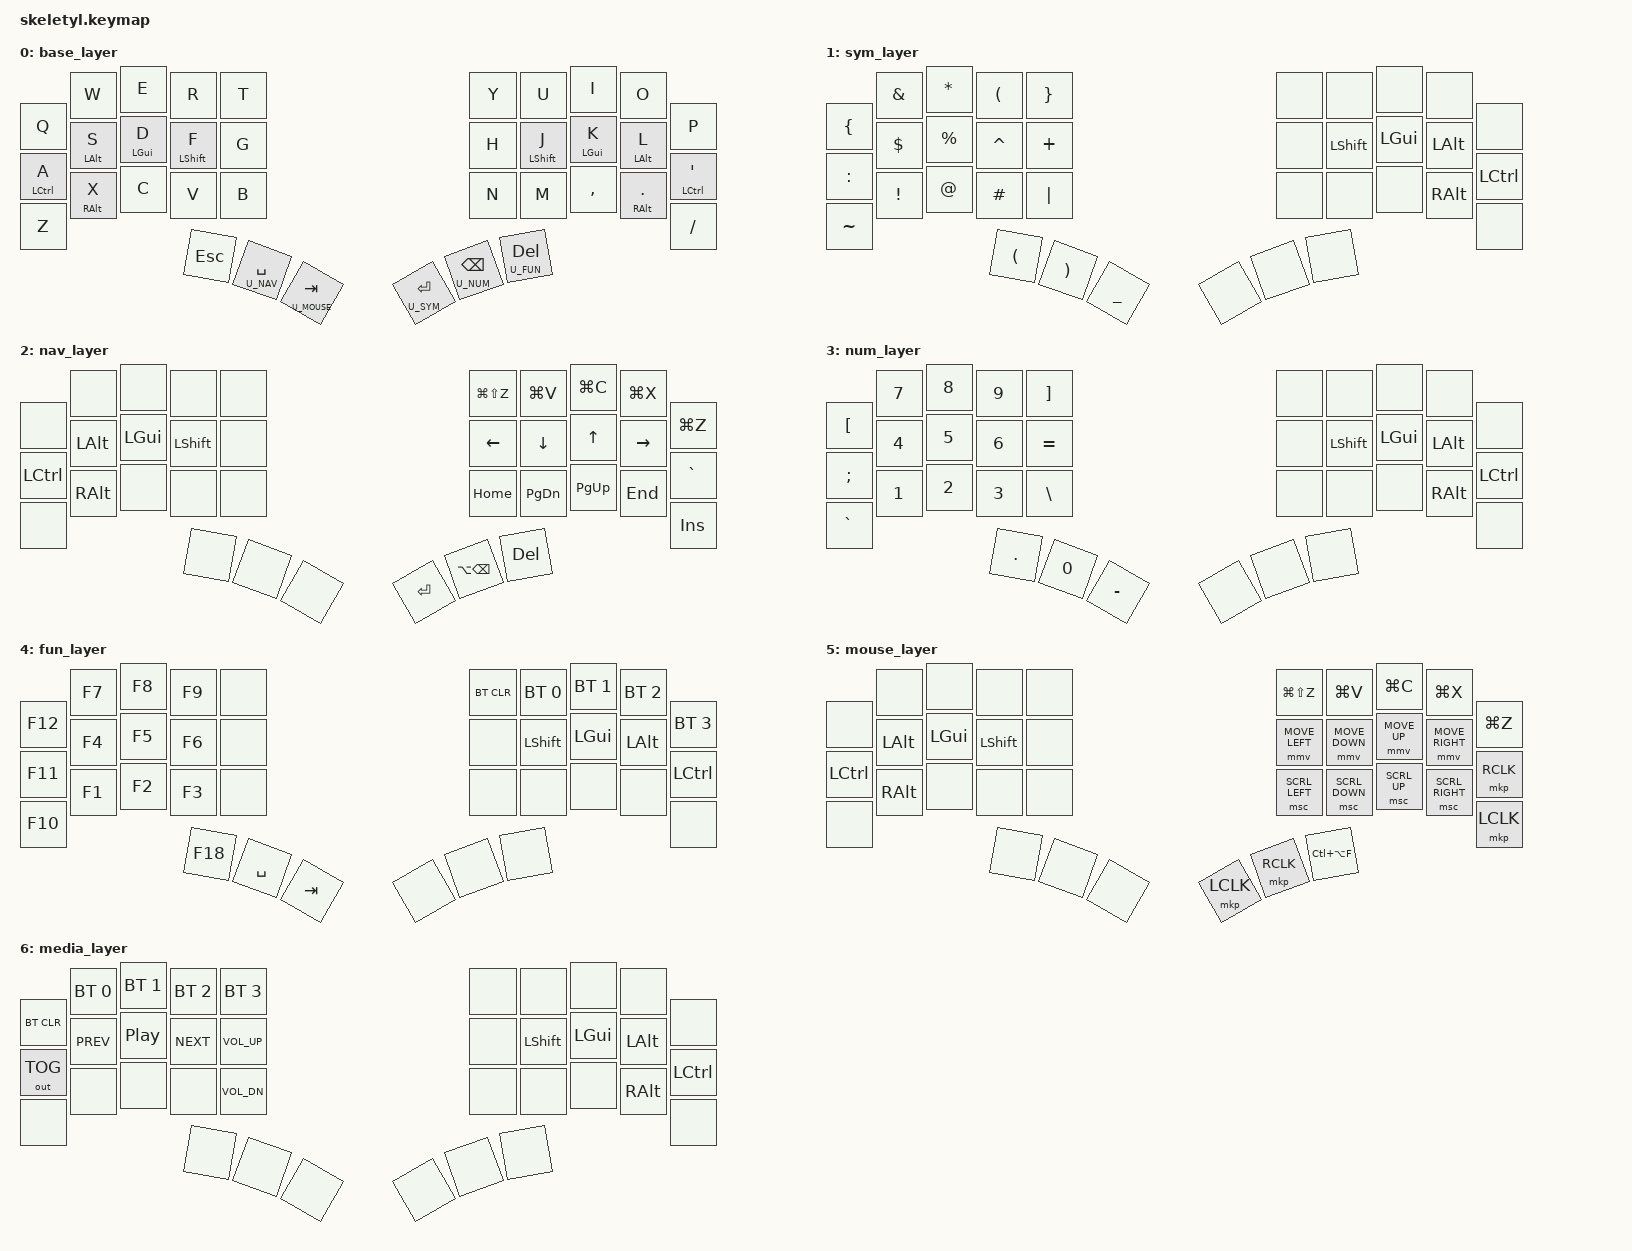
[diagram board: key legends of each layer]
/*
 * Copyright (c) 2020 The ZMK Contributors
 *
 * SPDX-License-Identifier: MIT
 */

#include <behaviors.dtsi>
#include <behaviors/num_word.dtsi>
#include <dt-bindings/zmk/keys.h>
#include <dt-bindings/zmk/bt.h>
#include <dt-bindings/zmk/outputs.h>

// Mouse speed settings (3x speed)
#define ZMK_POINTING_DEFAULT_MOVE_VAL 1800  // default: 600
#define ZMK_POINTING_DEFAULT_SCRL_VAL 30    // default: 10

#include <dt-bindings/zmk/pointing.h>

// QMK 스타일 레이어 정의
#define U_BASE 0
#define U_SYM 1
#define U_NAV 2
#define U_NUM 3
#define U_FUN 4
#define U_MOUSE 5
#define U_MEDIA 6

// 빈 키 정의
#define U_NA &none

// 36-key layout key positions (based on your matrix transform)
#define LT0  0
#define LT1  1
#define LT2  2
#define LT3  3
#define LT4  4
#define LM0  5
#define LM1  6
#define LM2  7
#define LM3  8
#define LM4  9
#define LB0 10
#define LB1 11
#define LB2 12
#define LB3 13
#define LB4 14
#define LH0 15
#define LH1 16
#define LH2 17

#define RT0 18
#define RT1 19
#define RT2 20
#define RT3 21
#define RT4 22
#define RM0 23
#define RM1 24
#define RM2 25
#define RM3 26
#define RM4 27
#define RB0 28
#define RB1 29
#define RB2 30
#define RB3 31
#define RB4 32
#define RH0 33
#define RH1 34
#define RH2 35

// Key groups for HRM
#define KEYS_L LT0 LT1 LT2 LT3 LT4 LM0 LM1 LM2 LM3 LM4 LB0 LB1 LB2 LB3 LB4
#define KEYS_R RT0 RT1 RT2 RT3 RT4 RM0 RM1 RM2 RM3 RM4 RB0 RB1 RB2 RB3 RB4
#define THUMBS LH0 LH1 LH2 RH0 RH1 RH2

/ {
    behaviors {
        /* Left-hand HRMs — urob "timeless" style
         * 타이핑 중에는 require-prior-idle(150ms)이 항상 즉시 tap으로 처리.
         * tapping-term(280ms)은 의도적 홀드 시에만 관여 → false-mod 제거. */
        hml: homerow_mods_left {
            compatible = "zmk,behavior-hold-tap";
            #binding-cells = <2>;
            flavor = "balanced";
            tapping-term-ms = <200>;
            quick-tap-ms = <175>;
            require-prior-idle-ms = <150>;
            bindings = <&kp>, <&kp>;
            hold-trigger-key-positions = <KEYS_R THUMBS>;
            hold-trigger-on-release;
        };

        /* Right-hand HRMs */
        hmr: homerow_mods_right {
            compatible = "zmk,behavior-hold-tap";
            #binding-cells = <2>;
            flavor = "balanced";
            tapping-term-ms = <200>;
            quick-tap-ms = <175>;
            require-prior-idle-ms = <150>;
            bindings = <&kp>, <&kp>;
            hold-trigger-key-positions = <KEYS_L THUMBS>;
            hold-trigger-on-release;
        };

        /* Shift 전용 HRM — require-prior-idle 없음: 롤링 즉시 Shift 발동
         * Shift 오작동은 대문자 하나로 끝나지만, Cmd/Ctrl 오작동은 위험하므로 분리. */
        hml_shift: homerow_mods_left_shift {
            compatible = "zmk,behavior-hold-tap";
            #binding-cells = <2>;
            flavor = "balanced";
            tapping-term-ms = <200>;
            quick-tap-ms = <175>;
            bindings = <&kp>, <&kp>;
            hold-trigger-key-positions = <KEYS_R THUMBS>;
            hold-trigger-on-release;
        };

        hmr_shift: homerow_mods_right_shift {
            compatible = "zmk,behavior-hold-tap";
            #binding-cells = <2>;
            flavor = "balanced";
            tapping-term-ms = <200>;
            quick-tap-ms = <175>;
            bindings = <&kp>, <&kp>;
            hold-trigger-key-positions = <KEYS_L THUMBS>;
            hold-trigger-on-release;
        };

        /* Thumb layer-tap — &lt 대체
         * 빠른 타이핑 중 엄지 레이어 키가 hold로 오인되는 문제 방지.
         * 직전 키 입력 후 150ms 이내 → 항상 즉시 tap(DEL/BSPC/RET 등)으로 처리.
         * 언어전환(FUN+LH0=F18) 등 의도적 레이어 진입은 타이핑 후 잠깐 멈췄다가 홀드. */
        tlt: thumb_layer_tap {
            compatible = "zmk,behavior-hold-tap";
            #binding-cells = <2>;
            flavor = "balanced";
            tapping-term-ms = <200>;
            quick-tap-ms = <175>;
            require-prior-idle-ms = <150>;
            bindings = <&mo>, <&kp>;
        };

        /* DEL 전용 layer-tap — require-prior-idle 없음
         * 타이핑 직후에도 홀드하면 즉시 레이어 활성화. */
        lt_del: layer_tap_del {
            compatible = "zmk,behavior-hold-tap";
            #binding-cells = <2>;
            flavor = "balanced";
            tapping-term-ms = <120>;
            quick-tap-ms = <175>;
            bindings = <&mo>, <&kp>;
        };

    };

    combos {
        compatible = "zmk,combos";

        // Caps Word: 안쪽 엄지 두 개 동시 (TAB + RET, pos 32+33)
        combo_caps {
            timeout-ms = <50>;
            key-positions = <32 33>;
            bindings = <&caps_word>;
            require-prior-idle-ms = <150>;
            layers = <0>;
        };

        // Repeat Key: 오른 엄지 중간+바깥 동시 (BSPC + DEL, pos 34+35)
        // 마지막 입력 키 재발사. 더블 레터(ll, ss 등) 동일 손가락 반복 제거.
        combo_repeat {
            timeout-ms = <30>;
            key-positions = <34 35>;
            bindings = <&key_repeat>;
            require-prior-idle-ms = <150>;
        };

        // Numword: 왼 중간 + 오른 중간 엄지 동시 (SPACE + BSPC, pos 31+34)
        // NUM 레이어 진입 → 숫자/기호 입력 후 알파 키 누르면 자동 종료
        combo_numword {
            timeout-ms = <50>;
            key-positions = <31 34>;
            bindings = <&num_word U_NUM>;
            require-prior-idle-ms = <150>;
            layers = <0>;
        };
    };

    keymap {
        compatible = "zmk,keymap";

        // BASE 레이어 (QMK MIRYOKU_LAYER_BASE)
        base_layer {
            bindings = <
                &kp Q              &kp W              &kp E              &kp R              &kp T              &kp Y              &kp U              &kp I              &kp O              &kp P
                &hml LCTRL A       &hml LALT S        &hml LGUI D        &hml_shift LSHFT F &kp G              &kp H              &hmr_shift LSHFT J &hmr LGUI K        &hmr LALT L        &hmr LCTRL SQT
                &kp Z              &hml RALT X        &kp C              &kp V              &kp B              &kp N              &kp M              &kp COMMA          &hmr RALT DOT      &kp FSLH
                                                      &kp ESC            &tlt U_NAV SPACE   &tlt U_MOUSE TAB   &tlt U_SYM RET     &tlt U_NUM BSPC    &lt_del U_FUN DEL
            >;
        };

        // SYM 레이어 (QMK MIRYOKU_LAYER_SYM)
        sym_layer {
            bindings = <
                &kp LBRC           &kp AMPS           &kp ASTRK          &kp LPAR           &kp RBRC           U_NA               U_NA               U_NA               U_NA               U_NA
                &kp COLON          &kp DLLR           &kp PRCNT          &kp CARET          &kp PLUS           U_NA               &kp LSHFT          &kp LGUI           &kp LALT           &kp LCTRL
                &kp TILDE          &kp EXCL           &kp AT             &kp HASH           &kp PIPE           U_NA               U_NA               U_NA               &kp RALT           U_NA
                                                      &kp LPAR           &kp RPAR           &kp UNDER          U_NA               U_NA               U_NA
            >;
        };

        // NAV 레이어 (QMK MIRYOKU_LAYER_NAV)
        nav_layer {
            bindings = <
                U_NA               U_NA               U_NA               U_NA               U_NA               &kp LG(LS(Z))     &kp LG(V)          &kp LG(C)          &kp LG(X)          &kp LG(Z)
                &kp LCTRL          &kp LALT           &kp LGUI           &kp LSHFT          U_NA               &kp LEFT           &kp DOWN           &kp UP             &kp RIGHT          &kp GRAVE
                U_NA               &kp RALT           U_NA               U_NA               U_NA               &kp HOME           &kp PG_DN          &kp PG_UP          &kp END            &kp INS
                                                      U_NA               U_NA               U_NA               &kp RET            &kp LA(BSPC)       &kp DEL
            >;
        };

        // NUM 레이어 (QMK MIRYOKU_LAYER_NUM)
        num_layer {
            bindings = <
                &kp LBKT           &kp N7             &kp N8             &kp N9             &kp RBKT           U_NA               U_NA               U_NA               U_NA               U_NA
                &kp SEMI           &kp N4             &kp N5             &kp N6             &kp EQUAL          U_NA               &kp LSHFT          &kp LGUI           &kp LALT           &kp LCTRL
                &kp GRAVE          &kp N1             &kp N2             &kp N3             &kp BSLH           U_NA               U_NA               U_NA               &kp RALT           U_NA
                                                      &kp DOT            &kp N0             &kp MINUS          U_NA               U_NA               U_NA
            >;
        };

        // FUN 레이어 (QMK MIRYOKU_LAYER_FUN)
        fun_layer {
            bindings = <
                &kp F12            &kp F7             &kp F8             &kp F9             U_NA               &bt BT_CLR         &bt BT_SEL 0       &bt BT_SEL 1       &bt BT_SEL 2       &bt BT_SEL 3
                &kp F11            &kp F4             &kp F5             &kp F6             U_NA               U_NA               &kp LSHFT          &kp LGUI           &kp LALT           &kp LCTRL
                &kp F10            &kp F1             &kp F2             &kp F3             U_NA               U_NA               U_NA               U_NA               U_NA               U_NA
                                                      &kp F18            &kp SPACE          &kp TAB            U_NA               U_NA               U_NA
            >;
        };

        // MOUSE 레이어
        mouse_layer {
            bindings = <
                U_NA               U_NA               U_NA               U_NA               U_NA               &kp LG(LS(Z))     &kp LG(V)          &kp LG(C)          &kp LG(X)          &kp LG(Z)
                &kp LCTRL          &kp LALT           &kp LGUI           &kp LSHFT          U_NA               &mmv MOVE_LEFT     &mmv MOVE_DOWN     &mmv MOVE_UP       &mmv MOVE_RIGHT    &mkp RCLK
                U_NA               &kp RALT           U_NA               U_NA               U_NA               &msc SCRL_LEFT     &msc SCRL_DOWN     &msc SCRL_UP       &msc SCRL_RIGHT    &mkp LCLK
                                                      U_NA               U_NA               U_NA               &mkp LCLK          &mkp RCLK          &kp LC(LA(F))
            >;
        };

        // MEDIA 레이어
        media_layer {
            bindings = <
                &bt BT_CLR         &bt BT_SEL 0       &bt BT_SEL 1       &bt BT_SEL 2       &bt BT_SEL 3       U_NA               U_NA               U_NA               U_NA               U_NA
                &out OUT_TOG       &kp C_PREV         &kp C_PP           &kp C_NEXT         &kp C_VOL_UP       U_NA               &kp LSHFT          &kp LGUI           &kp LALT           &kp LCTRL
                U_NA               U_NA               U_NA               U_NA               &kp C_VOL_DN       U_NA               U_NA               U_NA               &kp RALT           U_NA
                                                      U_NA               U_NA               U_NA               U_NA               U_NA               U_NA
            >;
        };
    };
};
